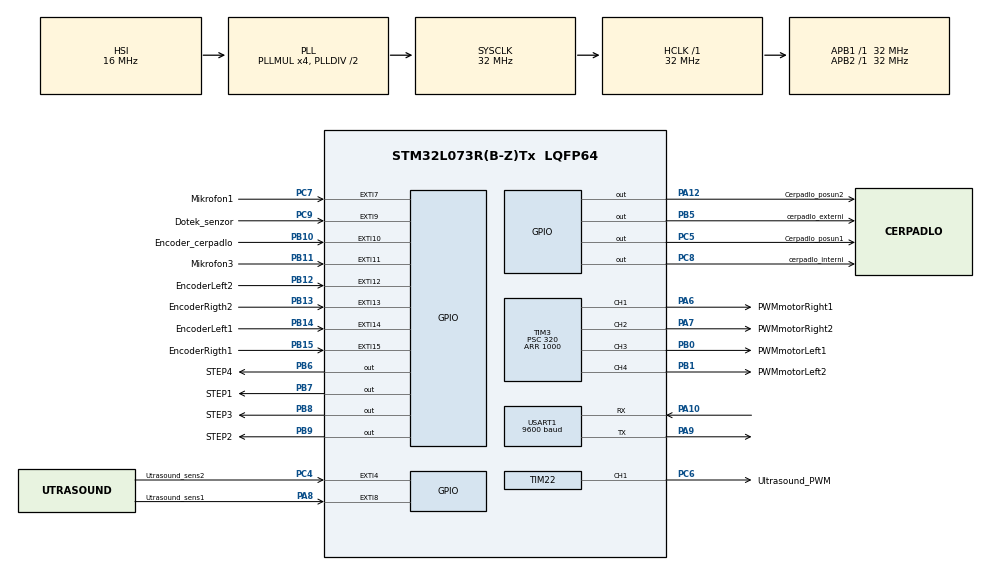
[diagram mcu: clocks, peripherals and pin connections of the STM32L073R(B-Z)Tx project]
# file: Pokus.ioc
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Dma.Request0=USART1_TX
Dma.Request1=USART1_RX
Dma.USART1_RX.1.Direction=DMA_PERIPH_TO_MEMORY
Dma.USART1_RX.1.Instance=DMA1_Channel3
Dma.USART1_RX.1.MemDataAlignment=DMA_MDATAALIGN_BYTE
Dma.USART1_RX.1.MemInc=DMA_MINC_ENABLE
Dma.USART1_RX.1.Mode=DMA_NORMAL
Dma.USART1_RX.1.PeriphDataAlignment=DMA_PDATAALIGN_BYTE
Dma.USART1_RX.1.PeriphInc=DMA_PINC_DISABLE
Dma.USART1_RX.1.Priority=DMA_PRIORITY_LOW
Dma.USART1_TX.0.Direction=DMA_MEMORY_TO_PERIPH
Dma.USART1_TX.0.Instance=DMA1_Channel2
Dma.USART1_TX.0.MemDataAlignment=DMA_MDATAALIGN_BYTE
Dma.USART1_TX.0.MemInc=DMA_MINC_ENABLE
Dma.USART1_TX.0.Mode=DMA_NORMAL
Dma.USART1_TX.0.PeriphDataAlignment=DMA_PDATAALIGN_BYTE
Dma.USART1_TX.0.PeriphInc=DMA_PINC_DISABLE
Dma.USART1_TX.0.Priority=DMA_PRIORITY_LOW
Mcu.Family=STM32L0
Mcu.Name=STM32L073R(B-Z)Tx
Mcu.Package=LQFP64
NVIC.DMA1_Channel2_3_IRQn=true\:0\:0\:false\:false\:true\:false
NVIC.EXTI4_15_IRQn=true\:0\:0\:false\:false\:true\:true
NVIC.TIM22_IRQn=true\:0\:0\:false\:false\:true\:true
NVIC.TIM3_IRQn=true\:0\:0\:false\:false\:true\:true
NVIC.TIM6_DAC_IRQn=true\:0\:0\:false\:false\:true\:true
NVIC.USART1_IRQn=true\:0\:0\:false\:false\:true\:true
PA10.Mode=Asynchronous
PA10.Signal=USART1_RX
PA12.GPIO_Label=Cerpadlo_posun2
PA12.GPIO_Speed=GPIO_SPEED_FREQ_MEDIUM
PA12.Signal=GPIO_Output
PA6.GPIO_Label=PWMmotorRight1
PA6.Signal=S_TIM3_CH1
PA7.GPIO_Label=PWMmotorRight2
PA7.Signal=S_TIM3_CH2
PA8.GPIO_Label=Utrasound_sens1
PA8.GPIO_ModeDefaultEXTI=GPIO_MODE_IT_RISING_FALLING
PA8.GPIO_PuPd=GPIO_NOPULL
PA8.Signal=GPXTI8
PA9.Mode=Asynchronous
PA9.Signal=USART1_TX
PB0.GPIO_Label=PWMmotorLeft1
PB0.Signal=S_TIM3_CH3
PB1.GPIO_Label=PWMmotorLeft2
PB1.Signal=S_TIM3_CH4
PB10.GPIO_Label=Encoder_cerpadlo
PB10.Signal=GPXTI10
PB11.GPIO_Label=Mikrofon3
PB11.Signal=GPXTI11
PB12.GPIO_Label=EncoderLeft2
PB12.Signal=GPXTI12
PB13.GPIO_Label=EncoderRigth2
PB13.Signal=GPXTI13
PB14.GPIO_Label=EncoderLeft1
PB14.Signal=GPXTI14
PB15.GPIO_Label=EncoderRigth1
PB15.Signal=GPXTI15
PB5.GPIO_Label=cerpadlo_externi
PB5.Signal=GPIO_Output
PB6.GPIO_Label=STEP4
PB6.Signal=GPIO_Output
PB7.GPIO_Label=STEP1
PB7.Signal=GPIO_Output
PB8.GPIO_Label=STEP3
PB8.Signal=GPIO_Output
PB9.GPIO_Label=STEP2
PB9.Signal=GPIO_Output
PC14-OSC32_IN.Mode=LSE-External-Oscillator
PC14-OSC32_IN.Signal=RCC_OSC32_IN
PC15-OSC32_OUT.Mode=LSE-External-Oscillator
PC15-OSC32_OUT.Signal=RCC_OSC32_OUT
PC4.GPIO_Label=Utrasound_sens2
PC4.GPIO_ModeDefaultEXTI=GPIO_MODE_IT_RISING_FALLING
PC4.Signal=GPXTI4
PC5.GPIO_Label=Cerpadlo_posun1
PC5.GPIO_Speed=GPIO_SPEED_FREQ_MEDIUM
PC5.Signal=GPIO_Output
PC6.GPIO_Label=Ultrasound_PWM
PC6.Signal=S_TIM22_CH1
PC7.GPIO_Label=Mikrofon1
PC7.Signal=GPXTI7
PC8.GPIO_Label=cerpadlo_interni
PC8.Signal=GPIO_Output
PC9.GPIO_Label=Dotek_senzor
PC9.GPIO_PuPd=GPIO_PULLDOWN
PC9.Signal=GPXTI9
ProjectManager.HeapSize=0x200
ProjectManager.StackSize=0x400
ProjectManager.TargetToolchain=TrueSTUDIO
RCC.AHBFreq_Value=32000000
RCC.APB1Freq_Value=32000000
RCC.APB1TimFreq_Value=32000000
RCC.APB2Freq_Value=32000000
RCC.APB2TimFreq_Value=32000000
RCC.HCLKFreq_Value=32000000
RCC.HSE_VALUE=8000000
RCC.HSI16_VALUE=16000000
RCC.HSI48_VALUE=48000000
RCC.HSI_VALUE=16000000
RCC.MSI_VALUE=2097000
RCC.PLLMUL=RCC_PLLMUL_4
RCC.SYSCLKFreq_VALUE=32000000
RCC.SYSCLKSource=RCC_SYSCLKSOURCE_PLLCLK
RCC.VCOOutputFreq_Value=64000000
SH.S_TIM22_CH1.0=TIM22_CH1,PWM Generation1 CH1
SH.S_TIM3_CH1.0=TIM3_CH1,PWM Generation1 CH1
SH.S_TIM3_CH2.0=TIM3_CH2,PWM Generation2 CH2
SH.S_TIM3_CH3.0=TIM3_CH3,PWM Generation3 CH3
SH.S_TIM3_CH4.0=TIM3_CH4,PWM Generation4 CH4
TIM22.Channel-PWM\ Generation1\ CH1=TIM_CHANNEL_1
TIM22.Period=65000
TIM22.Prescaler=32
TIM22.Pulse-PWM\ Generation1\ CH1=15
TIM3.Channel-PWM\ Generation1\ CH1=TIM_CHANNEL_1
TIM3.Channel-PWM\ Generation2\ CH2=TIM_CHANNEL_2
TIM3.Channel-PWM\ Generation3\ CH3=TIM_CHANNEL_3
TIM3.Channel-PWM\ Generation4\ CH4=TIM_CHANNEL_4
TIM3.Period=1000
TIM3.Prescaler=320
TIM6.Period=65000
TIM6.Prescaler=320
USART1.BaudRate=9600
USART1.VirtualMode-Asynchronous=VM_ASYNC
VP_TIM22_VS_ClockSourceINT.Mode=Internal
VP_TIM3_VS_ClockSourceINT.Mode=Internal
VP_TIM6_VS_ClockSourceINT.Mode=Enable_Timer
board=custom

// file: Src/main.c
/* USER CODE BEGIN Header */
/**
  ******************************************************************************
  * @file           : main.c
  * @brief          : Main program body
  ******************************************************************************
  ** This notice applies to any and all portions of this file
  * that are not between comment pairs USER CODE BEGIN and
  * USER CODE END. Other portions of this file, whether
  * inserted by the user or by software development tools
  * are owned by their respective copyright owners.
  *
  * COPYRIGHT(c) 2019 STMicroelectronics
  *
  * Redistribution and use in source and binary forms, with or without modification,
  * are permitted provided that the following conditions are met:
  *   1. Redistributions of source code must retain the above copyright notice,
  *      this list of conditions and the following disclaimer.
  *   2. Redistributions in binary form must reproduce the above copyright notice,
  *      this list of conditions and the following disclaimer in the documentation
  *      and/or other materials provided with the distribution.
  *   3. Neither the name of STMicroelectronics nor the names of its contributors
  *      may be used to endorse or promote products derived from this software
  *      without specific prior written permission.
  *
  * THIS SOFTWARE IS PROVIDED BY THE COPYRIGHT HOLDERS AND CONTRIBUTORS "AS IS"
  * AND ANY EXPRESS OR IMPLIED WARRANTIES, INCLUDING, BUT NOT LIMITED TO, THE
  * IMPLIED WARRANTIES OF MERCHANTABILITY AND FITNESS FOR A PARTICULAR PURPOSE ARE
  * DISCLAIMED. IN NO EVENT SHALL THE COPYRIGHT HOLDER OR CONTRIBUTORS BE LIABLE
  * FOR ANY DIRECT, INDIRECT, INCIDENTAL, SPECIAL, EXEMPLARY, OR CONSEQUENTIAL
  * DAMAGES (INCLUDING, BUT NOT LIMITED TO, PROCUREMENT OF SUBSTITUTE GOODS OR
  * SERVICES; LOSS OF USE, DATA, OR PROFITS; OR BUSINESS INTERRUPTION) HOWEVER
  * CAUSED AND ON ANY THEORY OF LIABILITY, WHETHER IN CONTRACT, STRICT LIABILITY,
  * OR TORT (INCLUDING NEGLIGENCE OR OTHERWISE) ARISING IN ANY WAY OUT OF THE USE
  * OF THIS SOFTWARE, EVEN IF ADVISED OF THE POSSIBILITY OF SUCH DAMAGE.
  *
  ******************************************************************************
  */
/* USER CODE END Header */

#include "main.h"

/* USER CODE BEGIN Includes */
#include "motorcontrol.h"
#include "Bluetooth.h"
#include "Ultrasound.h"
#include "Step_eng.h"
#include "Cerpadlo.h"
//#include "navigator.h"
/* USER CODE END Includes */

TIM_HandleTypeDef htim3;
TIM_HandleTypeDef htim6;
TIM_HandleTypeDef htim22;

UART_HandleTypeDef huart1;
DMA_HandleTypeDef hdma_usart1_tx;
DMA_HandleTypeDef hdma_usart1_rx;

void SystemClock_Config(void);
static void MX_GPIO_Init(void);
static void MX_DMA_Init(void);
static void MX_TIM3_Init(void);
static void MX_USART1_UART_Init(void);
static void MX_TIM6_Init(void);
static void MX_TIM22_Init(void);

int main(void)
{

  /* MCU Configuration--------------------------------------------------------*/

  /* Reset of all peripherals, Initializes the Flash interface and the Systick. */
  HAL_Init();

  /* Configure the system clock */
  SystemClock_Config();

  /* Initialize all configured peripherals */
  MX_GPIO_Init();
  MX_DMA_Init();
  MX_TIM3_Init();
  MX_USART1_UART_Init();
  MX_TIM6_Init();
  MX_TIM22_Init();
  /* USER CODE BEGIN 2 */
  init_ultrasound(&htim22);
  start_motor_control(&htim3);
  start_cerpadlo_control();
  init_PID();
  init_PID_ultrazvuk();
  start_encoder();
  posun_cerpadla(nahoru);
  Travel_rovne(&htim3,10,600);
  HAL_Delay(1000);
  posun_cerpadla(dolu);
  HAL_Delay(1000);
  start_cerpani_v_rameni(800); //10 = 1s
  posun_cerpadla(nahoru);
  set_stop(0,0);
  Travel_rovne(&htim3,0.5,-500);
  HAL_Delay(1000);
  set_stop(0,0);
  Travel_turn(&htim3,80,1000);
  HAL_Delay(1000);
  set_stop(0,0);
  Travel_rovne(&htim3,10,600);
  HAL_Delay(1000);
  start_cerpani_v_nadrzi(800); //10 = 1s

  /* USER CODE END 2 */

  /* Infinite loop */
  /* USER CODE BEGIN WHILE */
  while (1)
  {
	  /*
	  set_stop(0,0);
	  Travel_rovne(&htim3,100,500);
	  set_stop(0,0);
	  HAL_Delay(1000);
	  Travel_rovne(&htim3,100,100);
	  posun_cerpadla(dolu);
	  posun_cerpadla(nahoru
	  );
	  HAL_Delay(1000);
	  start_cerpani_v_nadrzi(1000);
	  start_cerpani_v_rameni(1000);
	  */

    /* USER CODE END WHILE */

  }
}

void SystemClock_Config(void)
{
  RCC_OscInitTypeDef RCC_OscInitStruct = {0};
  RCC_ClkInitTypeDef RCC_ClkInitStruct = {0};
  RCC_PeriphCLKInitTypeDef PeriphClkInit = {0};

  /**Configure the main internal regulator output voltage
  */
  __HAL_PWR_VOLTAGESCALING_CONFIG(PWR_REGULATOR_VOLTAGE_SCALE1);
  /**Initializes the CPU, AHB and APB busses clocks
  */
  RCC_OscInitStruct.OscillatorType = RCC_OSCILLATORTYPE_HSI;
  RCC_OscInitStruct.HSIState = RCC_HSI_ON;
  RCC_OscInitStruct.HSICalibrationValue = RCC_HSICALIBRATION_DEFAULT;
  RCC_OscInitStruct.PLL.PLLState = RCC_PLL_ON;
  RCC_OscInitStruct.PLL.PLLSource = RCC_PLLSOURCE_HSI;
  RCC_OscInitStruct.PLL.PLLMUL = RCC_PLLMUL_4;
  RCC_OscInitStruct.PLL.PLLDIV = RCC_PLLDIV_2;
  if (HAL_RCC_OscConfig(&RCC_OscInitStruct) != HAL_OK)
  {
    Error_Handler();
  }
  /**Initializes the CPU, AHB and APB busses clocks
  */
  RCC_ClkInitStruct.ClockType = RCC_CLOCKTYPE_HCLK|RCC_CLOCKTYPE_SYSCLK
                              |RCC_CLOCKTYPE_PCLK1|RCC_CLOCKTYPE_PCLK2;
  RCC_ClkInitStruct.SYSCLKSource = RCC_SYSCLKSOURCE_PLLCLK;
  RCC_ClkInitStruct.AHBCLKDivider = RCC_SYSCLK_DIV1;
  RCC_ClkInitStruct.APB1CLKDivider = RCC_HCLK_DIV1;
  RCC_ClkInitStruct.APB2CLKDivider = RCC_HCLK_DIV1;

  if (HAL_RCC_ClockConfig(&RCC_ClkInitStruct, FLASH_LATENCY_1) != HAL_OK)
  {
    Error_Handler();
  }
  PeriphClkInit.PeriphClockSelection = RCC_PERIPHCLK_USART1;
  PeriphClkInit.Usart1ClockSelection = RCC_USART1CLKSOURCE_PCLK2;
  if (HAL_RCCEx_PeriphCLKConfig(&PeriphClkInit) != HAL_OK)
  {
    Error_Handler();
  }
}

static void MX_TIM3_Init(void)
{

  TIM_ClockConfigTypeDef sClockSourceConfig = {0};
  TIM_MasterConfigTypeDef sMasterConfig = {0};
  TIM_OC_InitTypeDef sConfigOC = {0};

  htim3.Instance = TIM3;
  htim3.Init.Prescaler = 320;
  htim3.Init.CounterMode = TIM_COUNTERMODE_UP;
  htim3.Init.Period = 1000;
  htim3.Init.ClockDivision = TIM_CLOCKDIVISION_DIV1;
  htim3.Init.AutoReloadPreload = TIM_AUTORELOAD_PRELOAD_DISABLE;
  if (HAL_TIM_Base_Init(&htim3) != HAL_OK)
  {
    Error_Handler();
  }
  sClockSourceConfig.ClockSource = TIM_CLOCKSOURCE_INTERNAL;
  if (HAL_TIM_ConfigClockSource(&htim3, &sClockSourceConfig) != HAL_OK)
  {
    Error_Handler();
  }
  if (HAL_TIM_PWM_Init(&htim3) != HAL_OK)
  {
    Error_Handler();
  }
  sMasterConfig.MasterOutputTrigger = TIM_TRGO_RESET;
  sMasterConfig.MasterSlaveMode = TIM_MASTERSLAVEMODE_DISABLE;
  if (HAL_TIMEx_MasterConfigSynchronization(&htim3, &sMasterConfig) != HAL_OK)
  {
    Error_Handler();
  }
  sConfigOC.OCMode = TIM_OCMODE_PWM1;
  sConfigOC.Pulse = 0;
  sConfigOC.OCPolarity = TIM_OCPOLARITY_HIGH;
  sConfigOC.OCFastMode = TIM_OCFAST_DISABLE;
  if (HAL_TIM_PWM_ConfigChannel(&htim3, &sConfigOC, TIM_CHANNEL_1) != HAL_OK)
  {
    Error_Handler();
  }
  if (HAL_TIMEx_RemapConfig(&htim3, TIM3_TI1_GPIO) != HAL_OK)
  {
    Error_Handler();
  }
  if (HAL_TIM_PWM_ConfigChannel(&htim3, &sConfigOC, TIM_CHANNEL_2) != HAL_OK)
  {
    Error_Handler();
  }
  if (HAL_TIM_PWM_ConfigChannel(&htim3, &sConfigOC, TIM_CHANNEL_3) != HAL_OK)
  {
    Error_Handler();
  }
  if (HAL_TIM_PWM_ConfigChannel(&htim3, &sConfigOC, TIM_CHANNEL_4) != HAL_OK)
  {
    Error_Handler();
  }
  HAL_TIM_MspPostInit(&htim3);

}

static void MX_TIM6_Init(void)
{

  TIM_MasterConfigTypeDef sMasterConfig = {0};

  htim6.Instance = TIM6;
  htim6.Init.Prescaler = 320;
  htim6.Init.CounterMode = TIM_COUNTERMODE_UP;
  htim6.Init.Period = 65000;
  htim6.Init.AutoReloadPreload = TIM_AUTORELOAD_PRELOAD_DISABLE;
  if (HAL_TIM_Base_Init(&htim6) != HAL_OK)
  {
    Error_Handler();
  }
  sMasterConfig.MasterOutputTrigger = TIM_TRGO_RESET;
  sMasterConfig.MasterSlaveMode = TIM_MASTERSLAVEMODE_DISABLE;
  if (HAL_TIMEx_MasterConfigSynchronization(&htim6, &sMasterConfig) != HAL_OK)
  {
    Error_Handler();
  }

}

static void MX_TIM22_Init(void)
{

  TIM_ClockConfigTypeDef sClockSourceConfig = {0};
  TIM_MasterConfigTypeDef sMasterConfig = {0};
  TIM_OC_InitTypeDef sConfigOC = {0};

  htim22.Instance = TIM22;
  htim22.Init.Prescaler = 32;
  htim22.Init.CounterMode = TIM_COUNTERMODE_UP;
  htim22.Init.Period = 65000;
  htim22.Init.ClockDivision = TIM_CLOCKDIVISION_DIV1;
  htim22.Init.AutoReloadPreload = TIM_AUTORELOAD_PRELOAD_DISABLE;
  if (HAL_TIM_Base_Init(&htim22) != HAL_OK)
  {
    Error_Handler();
  }
  sClockSourceConfig.ClockSource = TIM_CLOCKSOURCE_INTERNAL;
  if (HAL_TIM_ConfigClockSource(&htim22, &sClockSourceConfig) != HAL_OK)
  {
    Error_Handler();
  }
  if (HAL_TIM_PWM_Init(&htim22) != HAL_OK)
  {
    Error_Handler();
  }
  sMasterConfig.MasterOutputTrigger = TIM_TRGO_RESET;
  sMasterConfig.MasterSlaveMode = TIM_MASTERSLAVEMODE_DISABLE;
  if (HAL_TIMEx_MasterConfigSynchronization(&htim22, &sMasterConfig) != HAL_OK)
  {
    Error_Handler();
  }
  sConfigOC.OCMode = TIM_OCMODE_PWM1;
  sConfigOC.Pulse = 15;
  sConfigOC.OCPolarity = TIM_OCPOLARITY_HIGH;
  sConfigOC.OCFastMode = TIM_OCFAST_DISABLE;
  if (HAL_TIM_PWM_ConfigChannel(&htim22, &sConfigOC, TIM_CHANNEL_1) != HAL_OK)
  {
    Error_Handler();
  }
  if (HAL_TIMEx_RemapConfig(&htim22, TIM3_TI1_GPIO) != HAL_OK)
  {
    Error_Handler();
  }
  HAL_TIM_MspPostInit(&htim22);

}

static void MX_USART1_UART_Init(void)
{

  huart1.Instance = USART1;
  huart1.Init.BaudRate = 9600;
  huart1.Init.WordLength = UART_WORDLENGTH_8B;
  huart1.Init.StopBits = UART_STOPBITS_1;
  huart1.Init.Parity = UART_PARITY_NONE;
  huart1.Init.Mode = UART_MODE_TX_RX;
  huart1.Init.HwFlowCtl = UART_HWCONTROL_NONE;
  huart1.Init.OverSampling = UART_OVERSAMPLING_16;
  huart1.Init.OneBitSampling = UART_ONE_BIT_SAMPLE_DISABLE;
  huart1.AdvancedInit.AdvFeatureInit = UART_ADVFEATURE_NO_INIT;
  if (HAL_UART_Init(&huart1) != HAL_OK)
  {
    Error_Handler();
  }

}

static void MX_DMA_Init(void)
{
  /* DMA controller clock enable */
  __HAL_RCC_DMA1_CLK_ENABLE();

  /* DMA interrupt init */
  /* DMA1_Channel2_3_IRQn interrupt configuration */
  HAL_NVIC_SetPriority(DMA1_Channel2_3_IRQn, 0, 0);
  HAL_NVIC_EnableIRQ(DMA1_Channel2_3_IRQn);

}

static void MX_GPIO_Init(void)
{
  GPIO_InitTypeDef GPIO_InitStruct = {0};

  /* GPIO Ports Clock Enable */
  __HAL_RCC_GPIOC_CLK_ENABLE();
  __HAL_RCC_GPIOA_CLK_ENABLE();
  __HAL_RCC_GPIOB_CLK_ENABLE();

  /*Configure GPIO pin Output Level */
  HAL_GPIO_WritePin(GPIOC, Cerpadlo_posun1_Pin|cerpadlo_interni_Pin, GPIO_PIN_RESET);

  /*Configure GPIO pin Output Level */
  HAL_GPIO_WritePin(Cerpadlo_posun2_GPIO_Port, Cerpadlo_posun2_Pin, GPIO_PIN_RESET);

  /*Configure GPIO pin Output Level */
  HAL_GPIO_WritePin(GPIOB, cerpadlo_externi_Pin|STEP4_Pin|STEP1_Pin|STEP3_Pin
                          |STEP2_Pin, GPIO_PIN_RESET);

  /*Configure GPIO pin : Utrasound_sens2_Pin */
  GPIO_InitStruct.Pin = Utrasound_sens2_Pin;
  GPIO_InitStruct.Mode = GPIO_MODE_IT_RISING_FALLING;
  GPIO_InitStruct.Pull = GPIO_NOPULL;
  HAL_GPIO_Init(Utrasound_sens2_GPIO_Port, &GPIO_InitStruct);

  /*Configure GPIO pin : Cerpadlo_posun1_Pin */
  GPIO_InitStruct.Pin = Cerpadlo_posun1_Pin;
  GPIO_InitStruct.Mode = GPIO_MODE_OUTPUT_PP;
  GPIO_InitStruct.Pull = GPIO_NOPULL;
  GPIO_InitStruct.Speed = GPIO_SPEED_FREQ_MEDIUM;
  HAL_GPIO_Init(Cerpadlo_posun1_GPIO_Port, &GPIO_InitStruct);

  /*Configure GPIO pins : Encoder_cerpadlo_Pin Mikrofon3_Pin EncoderLeft2_Pin EncoderRigth2_Pin
                           EncoderLeft1_Pin EncoderRigth1_Pin */
  GPIO_InitStruct.Pin = Encoder_cerpadlo_Pin|Mikrofon3_Pin|EncoderLeft2_Pin|EncoderRigth2_Pin
                          |EncoderLeft1_Pin|EncoderRigth1_Pin;
  GPIO_InitStruct.Mode = GPIO_MODE_IT_RISING;
  GPIO_InitStruct.Pull = GPIO_NOPULL;
  HAL_GPIO_Init(GPIOB, &GPIO_InitStruct);

  /*Configure GPIO pin : Mikrofon1_Pin */
  GPIO_InitStruct.Pin = Mikrofon1_Pin;
  GPIO_InitStruct.Mode = GPIO_MODE_IT_RISING;
  GPIO_InitStruct.Pull = GPIO_NOPULL;
  HAL_GPIO_Init(Mikrofon1_GPIO_Port, &GPIO_InitStruct);

  /*Configure GPIO pin : cerpadlo_interni_Pin */
  GPIO_InitStruct.Pin = cerpadlo_interni_Pin;
  GPIO_InitStruct.Mode = GPIO_MODE_OUTPUT_PP;
  GPIO_InitStruct.Pull = GPIO_NOPULL;
  GPIO_InitStruct.Speed = GPIO_SPEED_FREQ_LOW;
  HAL_GPIO_Init(cerpadlo_interni_GPIO_Port, &GPIO_InitStruct);

  /*Configure GPIO pin : Dotek_senzor_Pin */
  GPIO_InitStruct.Pin = Dotek_senzor_Pin;
  GPIO_InitStruct.Mode = GPIO_MODE_IT_RISING;
  GPIO_InitStruct.Pull = GPIO_PULLDOWN;
  HAL_GPIO_Init(Dotek_senzor_GPIO_Port, &GPIO_InitStruct);

  /*Configure GPIO pin : Utrasound_sens1_Pin */
  GPIO_InitStruct.Pin = Utrasound_sens1_Pin;
  GPIO_InitStruct.Mode = GPIO_MODE_IT_RISING_FALLING;
  GPIO_InitStruct.Pull = GPIO_NOPULL;
  HAL_GPIO_Init(Utrasound_sens1_GPIO_Port, &GPIO_InitStruct);

  /*Configure GPIO pin : Cerpadlo_posun2_Pin */
  GPIO_InitStruct.Pin = Cerpadlo_posun2_Pin;
  GPIO_InitStruct.Mode = GPIO_MODE_OUTPUT_PP;
  GPIO_InitStruct.Pull = GPIO_NOPULL;
  GPIO_InitStruct.Speed = GPIO_SPEED_FREQ_MEDIUM;
  HAL_GPIO_Init(Cerpadlo_posun2_GPIO_Port, &GPIO_InitStruct);

  /*Configure GPIO pins : cerpadlo_externi_Pin STEP4_Pin STEP1_Pin STEP3_Pin
                           STEP2_Pin */
  GPIO_InitStruct.Pin = cerpadlo_externi_Pin|STEP4_Pin|STEP1_Pin|STEP3_Pin
                          |STEP2_Pin;
  GPIO_InitStruct.Mode = GPIO_MODE_OUTPUT_PP;
  GPIO_InitStruct.Pull = GPIO_NOPULL;
  GPIO_InitStruct.Speed = GPIO_SPEED_FREQ_LOW;
  HAL_GPIO_Init(GPIOB, &GPIO_InitStruct);

  /* EXTI interrupt init*/
  HAL_NVIC_SetPriority(EXTI4_15_IRQn, 0, 0);
  HAL_NVIC_EnableIRQ(EXTI4_15_IRQn);

}

void Error_Handler(void)
{
}

/************************ (C) COPYRIGHT STMicroelectronics *****END OF FILE****/
